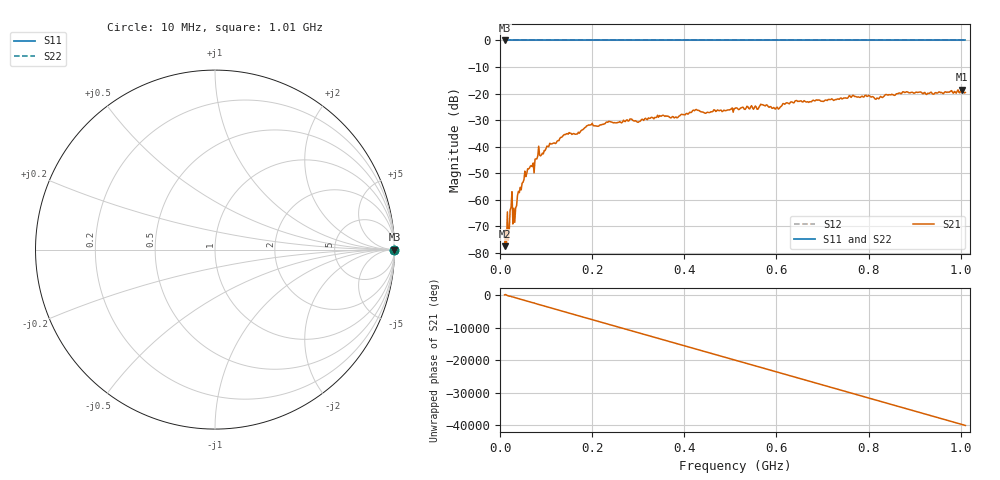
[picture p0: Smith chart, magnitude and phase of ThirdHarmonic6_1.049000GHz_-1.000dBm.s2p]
! 8/16/2025 9:14:35 AM
! C:\ANRITSUVNA\TEMP\TEMP.S2P
! CHANNEL.1
! TR.MEASUREMENT
! RAW.DATA
! RF.CORRECTION.OFF
! AVERAGING.OFF
! IF.BANDWIDTH: 5KHZ
! SWEEPTYPE:  FREQ.SWEEP(Linear)
! Reference Plane Port Info
! PORT:  PORT1  PORT2
! DISTANCE:  0  m  0  m
! TIME:  0  s  0  s
! PHASE.OFFSET:  0  deg.  0  deg.
! LOSS:  0  dB  0  dB
! REF.LOSS:  0  dB  0  dB
! REF.FREQ:  0  Hz  0  Hz
! Power Info
! POWER:  -20  dBm  -20  dBm
! EFF.POWER:  -20  dBm  -20  dBm
! SOURCE.ATTEN:  0  dB  0  dB
! TEST.ATTEN:  0  dB  0  dB
# GHZ S RI R 50.0
! FREQ.GHZ  S11RE  S11IM  S21RE  S21IM  S12RE  S12IM  S22RE  S22IM
!; PortSelection: Port_12
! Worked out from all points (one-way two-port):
!   501 points, 10 MHz to 1.01 GHz, reference 50 ohm
!   highest |S21| = -18.58 dB at 1.002 GHz (marker M1); lowest = -77.5 dB at 10 MHz (marker M2)
!   lowest |S11| = 0.0 dB at 10 MHz (marker M3)
!   |S11| at or under -10 dB: nowhere
!   |S22| runs from 0.0 to 0.0 dB; largest |S21 - S12| = 1.1
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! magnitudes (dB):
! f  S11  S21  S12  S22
! 10 MHz  0.0  -77.5  0.0  0.0
! 26 MHz  0.0  -57.0  0.0  0.0
! 32 MHz  0.0  -68.5  0.0  0.0
! 40 MHz  0.0  -56.8  0.0  0.0
! 52 MHz  0.0  -52.4  0.0  0.0
! 64 MHz  0.0  -48.0  0.0  0.0
! 78 MHz  0.0  -44.6  0.0  0.0
! 80 MHz  0.0  -44.6  0.0  0.0
! 140 MHz  0.0  -35.4  0.0  0.0
! 178 MHz  0.0  -33.7  0.0  0.0
! 196 MHz  0.0  -31.8  0.0  0.0
! 300 MHz  0.0  -30.8  0.0  0.0
! 344 MHz  0.0  -28.9  0.0  0.0
! 382 MHz  0.0  -28.8  0.0  0.0
! 510 MHz  0.0  -25.6  0.0  0.0
! 570 MHz  0.0  -24.2  0.0  0.0
! 602 MHz  0.0  -25.2  0.0  0.0
! 644 MHz  0.0  -22.6  0.0  0.0
! 678 MHz  0.0  -22.6  0.0  0.0
! 844 MHz  0.0  -20.4  0.0  0.0
! 1.002 GHz  0.0  -18.6  0.0  0.0
! 1.01 GHz  0.0  -19.6  0.0  0.0
